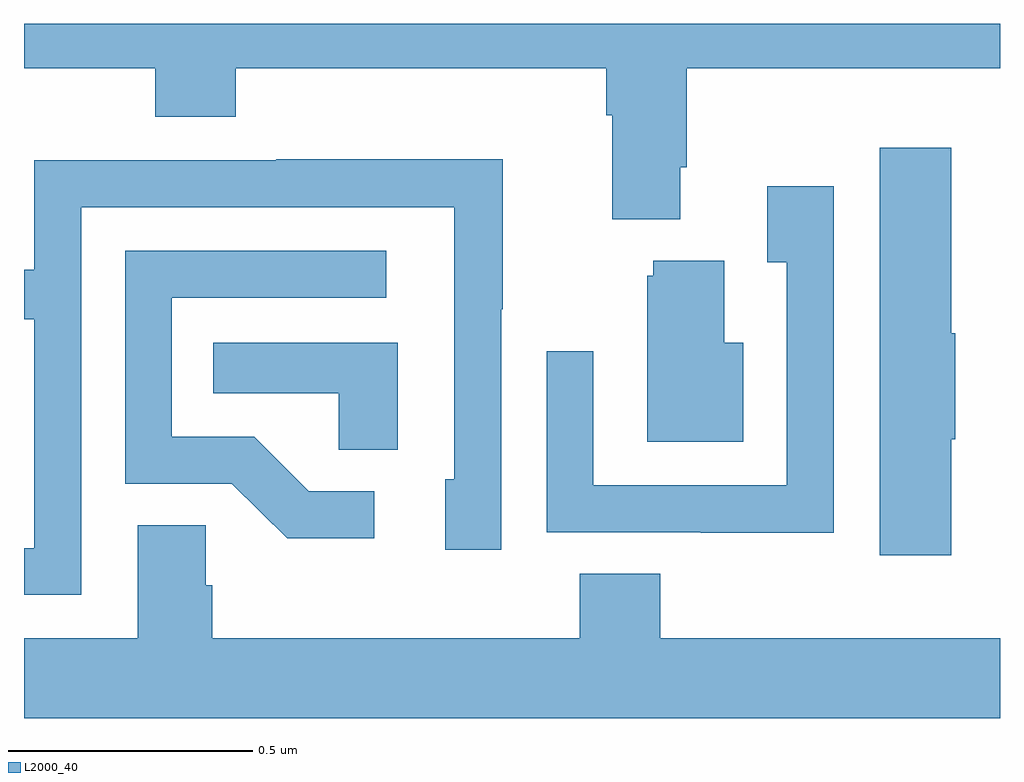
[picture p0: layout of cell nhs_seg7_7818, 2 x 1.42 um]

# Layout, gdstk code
import gdstk
lib = gdstk.Library(unit=1e-6, precision=1e-09)
def P(c, l, *ps):  # polygons
    for p in ps: c.add(gdstk.Polygon(p, *l))
L2000_40 = (2000, 40)

nhs_seg7_7818 = lib.new_cell('nhs_seg7_7818')
P(nhs_seg7_7818, L2000_40, [(217.345,1041.706),(217.358,1041.706),(217.358,1041.908),(218,1041.908),(218,1042),(216,1042),(216,1041.908),(216.269,1041.908),(216.269,1041.809),(216.434,1041.809),(216.434,1041.908),(217.193,1041.908),(217.193,1041.812),(217.205,1041.812),(217.205,1041.599),(217.345,1041.599)],
  [(217.9,1041.148),(217.908,1041.148),(217.908,1041.365),(217.9,1041.365),(217.9,1041.745),(217.754,1041.745),(217.754,1040.91),(217.9,1040.91)],
  [(216.117,1041.624),(216.882,1041.624),(216.882,1041.066),(216.863,1041.066),(216.863,1040.922),(216.978,1040.922),(216.978,1041.415),(216.981,1041.415),(216.981,1041.722),(216.517,1041.722),(216.517,1041.72),(216.021,1041.72),(216.021,1041.495),(216,1041.495),(216,1041.394),(216.021,1041.394),(216.021,1040.925),(216,1040.925),(216,1040.829),(216.117,1040.829)],
  [(217.659,1041.667),(217.523,1041.667),(217.523,1041.511),(217.563,1041.511),(217.563,1041.054),(217.167,1041.054),(217.167,1041.328),(217.071,1041.328),(217.071,1040.958),(217.387,1040.958),(217.387,1040.957),(217.659,1040.957)],
  [(216.718,1041.042),(216.583,1041.042),(216.472,1041.153),(216.303,1041.153),(216.303,1041.438),(216.742,1041.438),(216.742,1041.534),(216.207,1041.534),(216.207,1041.057),(216.426,1041.057),(216.539,1040.945),(216.718,1040.945)],
  [(217.474,1041.346),(217.435,1041.346),(217.435,1041.514),(217.289,1041.514),(217.289,1041.483),(217.277,1041.483),(217.277,1041.143),(217.474,1041.143)],
  [(216.766,1041.346),(216.388,1041.346),(216.388,1041.242),(216.645,1041.242),(216.645,1041.127),(216.766,1041.127)],
  [(218,1040.74),(217.304,1040.74),(217.304,1040.873),(217.139,1040.873),(217.139,1040.74),(216.386,1040.74),(216.386,1040.849),(216.372,1040.849),(216.372,1040.972),(216.233,1040.972),(216.233,1040.74),(216,1040.74),(216,1040.576),(218,1040.576)])

lib.write_gds('nhs_seg7_7818.gds')
